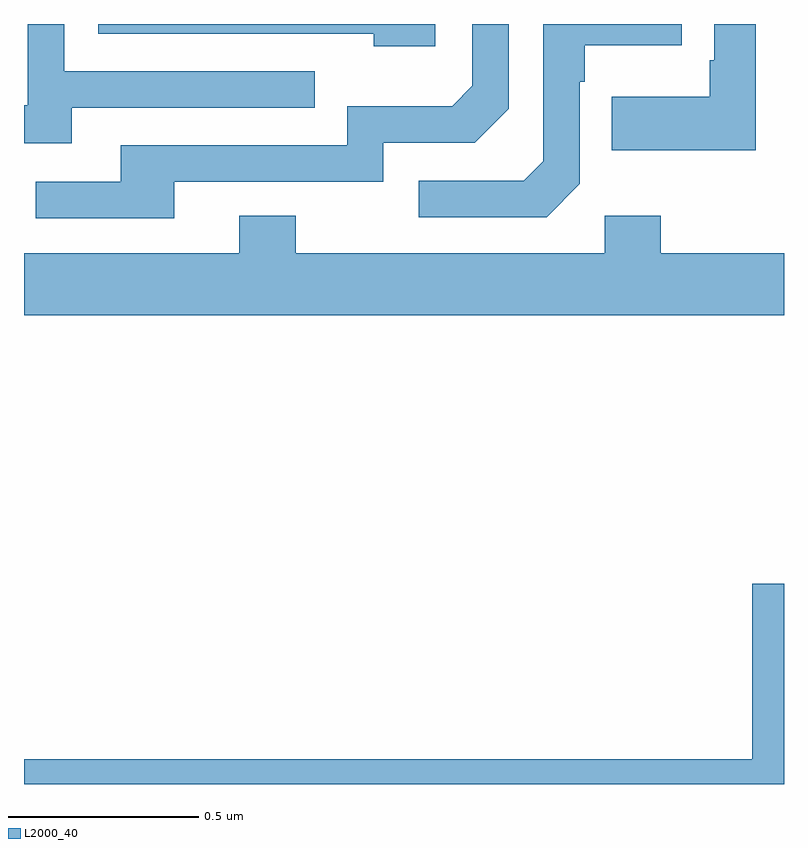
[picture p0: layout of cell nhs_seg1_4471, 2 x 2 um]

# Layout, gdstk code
import gdstk
lib = gdstk.Library(unit=1e-6, precision=1e-09)
def P(c, l, *ps):  # polygons
    for p in ps: c.add(gdstk.Polygon(p, *l))
L2000_40 = (2000, 40)

nhs_seg1_4471 = lib.new_cell('nhs_seg1_4471')
P(nhs_seg1_4471, L2000_40, [(167.125,518.979),(167.765,518.979),(167.765,519.075),(167.106,519.075),(167.106,519.199),(167.01,519.199),(167.01,518.985),(167,518.985),(167,518.885),(167.125,518.885)],
  [(167.395,518.784),(167.946,518.784),(167.946,518.886),(168.186,518.886),(168.276,518.976),(168.276,519.199),(168.18,519.199),(168.18,519.036),(168.127,518.983),(167.85,518.983),(167.85,518.88),(167.255,518.88),(167.255,518.784),(167.031,518.784),(167.031,518.688),(167.395,518.688)],
  [(168.925,519.199),(168.816,519.199),(168.816,519.103),(168.804,519.103),(168.804,519.007),(168.547,519.007),(168.547,518.867),(168.925,518.867)],
  [(168.462,518.778),(168.462,519.047),(168.475,519.047),(168.475,519.143),(168.731,519.143),(168.731,519.199),(168.366,519.199),(168.366,518.838),(168.315,518.787),(168.039,518.787),(168.039,518.691),(168.375,518.691)],
  [(168.082,519.199),(167.196,519.199),(167.196,519.174),(167.921,519.174),(167.921,519.14),(168.082,519.14)],
  [(169,518.596),(168.675,518.596),(168.675,518.695),(168.528,518.695),(168.528,518.596),(167.715,518.596),(167.715,518.695),(167.567,518.695),(167.567,518.596),(167,518.596),(167,518.432),(169,518.432)],
  [(169,517.726),(168.917,517.726),(168.917,517.264),(167,517.264),(167,517.199),(169,517.199)])

lib.write_gds('nhs_seg1_4471.gds')
